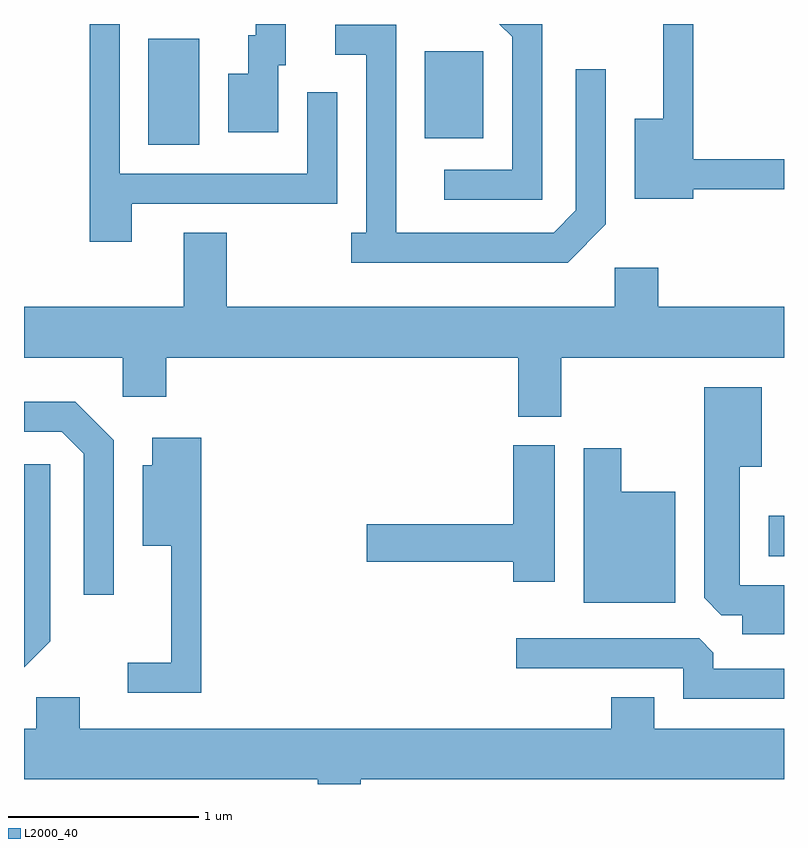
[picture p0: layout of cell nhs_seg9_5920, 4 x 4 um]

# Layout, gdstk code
import gdstk
lib = gdstk.Library(unit=1e-6, precision=1e-09)
def R(c, l, rs):  # rectangles x0, y0, x1, y1
    for r in rs: c.add(gdstk.rectangle(r[:2], r[2:], *l))
def P(c, l, *ps):  # polygons
    for p in ps: c.add(gdstk.Polygon(p, *l))
L2000_40 = (2000, 40)

nhs_seg9_5920 = lib.new_cell('nhs_seg9_5920')
R(nhs_seg9_5920, L2000_40, [(363.531,2019.631,363.611,2019.844), (360.266,2021.796,360.534,2022.354), (361.721,2021.831,362.029,2022.289)])
P(nhs_seg9_5920, L2000_40, [(363.134,2021.561),(363.611,2021.561),(363.611,2021.719),(363.134,2021.719),(363.134,2022.432),(362.976,2022.432),(362.976,2021.934),(362.826,2021.934),(362.826,2021.511),(363.134,2021.511)],
  [(360.949,2022.216),(360.989,2022.216),(360.989,2022.432),(360.831,2022.432),(360.831,2022.374),(360.791,2022.374),(360.791,2022.169),(360.686,2022.169),(360.686,2021.861),(360.949,2021.861)],
  [(362.339,2022.432),(362.113,2022.432),(362.181,2022.364),(362.181,2021.664),(361.823,2021.664),(361.823,2021.506),(362.339,2021.506)],
  [(360.179,2021.486),(361.259,2021.486),(361.259,2022.073),(361.101,2022.073),(361.101,2021.644),(360.114,2021.644),(360.114,2022.432),(359.956,2022.432),(359.956,2021.286),(360.179,2021.286)],
  [(362.674,2021.379),(362.674,2022.193),(362.516,2022.193),(362.516,2021.452),(362.399,2021.334),(361.569,2021.334),(361.569,2022.429),(361.248,2022.429),(361.248,2022.271),(361.411,2022.271),(361.411,2021.334),(361.333,2021.334),(361.333,2021.176),(362.472,2021.176)],
  [(362.721,2021.149),(362.721,2020.944),(360.679,2020.944),(360.679,2021.334),(360.451,2021.334),(360.451,2020.944),(359.611,2020.944),(359.611,2020.676),(360.131,2020.676),(360.131,2020.471),(360.359,2020.471),(360.359,2020.676),(362.211,2020.676),(362.211,2020.366),(362.439,2020.366),(362.439,2020.676),(363.611,2020.676),(363.611,2020.944),(362.949,2020.944),(362.949,2021.149)],
  [(363.611,2019.479),(363.379,2019.479),(363.379,2020.101),(363.494,2020.101),(363.494,2020.519),(363.191,2020.519),(363.191,2019.412),(363.282,2019.321),(363.391,2019.321),(363.391,2019.221),(363.611,2019.221)],
  [(360.084,2020.242),(359.882,2020.444),(359.611,2020.444),(359.611,2020.286),(359.809,2020.286),(359.926,2020.169),(359.926,2019.428),(360.084,2019.428)],
  [(360.544,2020.254),(360.286,2020.254),(360.286,2020.109),(360.236,2020.109),(360.236,2019.686),(360.386,2019.686),(360.386,2019.069),(360.158,2019.069),(360.158,2018.911),(360.544,2018.911)],
  [(362.404,2020.214),(362.186,2020.214),(362.186,2019.799),(361.416,2019.799),(361.416,2019.601),(362.186,2019.601),(362.186,2019.496),(362.404,2019.496)],
  [(363.039,2019.969),(362.754,2019.969),(362.754,2020.199),(362.556,2020.199),(362.556,2019.386),(363.039,2019.386)],
  [(359.749,2019.184),(359.749,2020.114),(359.611,2020.114),(359.611,2019.046)],
  [(363.611,2019.039),(363.239,2019.039),(363.239,2019.124),(363.164,2019.199),(362.203,2019.199),(362.203,2019.041),(363.081,2019.041),(363.081,2018.881),(363.611,2018.881)],
  [(361.384,2018.456),(363.611,2018.456),(363.611,2018.724),(362.929,2018.724),(362.929,2018.889),(362.701,2018.889),(362.701,2018.724),(359.904,2018.724),(359.904,2018.889),(359.676,2018.889),(359.676,2018.724),(359.611,2018.724),(359.611,2018.456),(361.156,2018.456),(361.156,2018.432),(361.384,2018.432)])

lib.write_gds('nhs_seg9_5920.gds')
